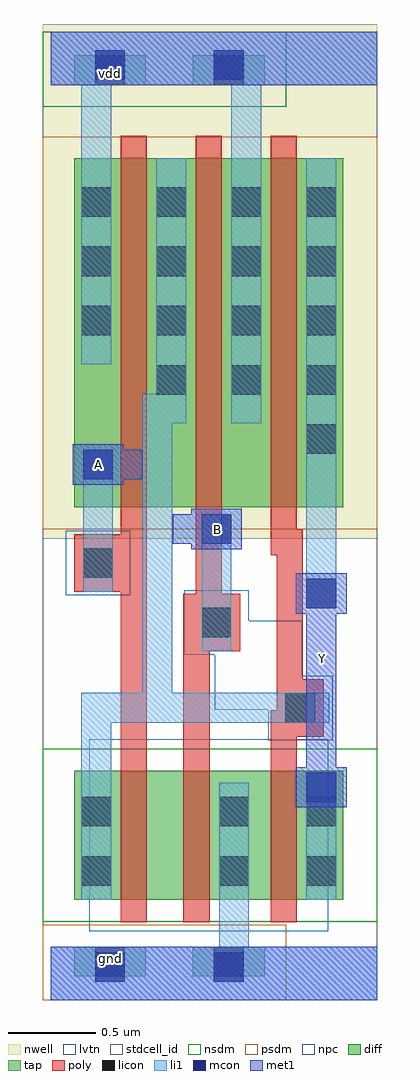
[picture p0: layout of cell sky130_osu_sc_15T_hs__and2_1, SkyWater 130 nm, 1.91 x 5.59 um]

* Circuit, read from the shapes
.subckt sky130_osu_sc_15T_hs__and2_1 A B Y gnd vdd
XM1 n1 A n2 gnd sky130_fd_pr__nfet_01v8_lvt w=0.74 l=0.15
XM2 gnd B n1 gnd sky130_fd_pr__nfet_01v8_lvt w=0.74 l=0.15
XM3 Y n2 gnd gnd sky130_fd_pr__nfet_01v8_lvt w=0.74 l=0.15
XM4 n2 A vdd vdd sky130_fd_pr__pfet_01v8 w=2 l=0.15
XM5 vdd B n2 vdd sky130_fd_pr__pfet_01v8 w=2 l=0.15
XM6 Y n2 vdd vdd sky130_fd_pr__pfet_01v8 w=2 l=0.15
.ends

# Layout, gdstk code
import gdstk
lib = gdstk.Library(unit=1e-6, precision=1e-09)
def R(c, l, rs):  # rectangles x0, y0, x1, y1
    for r in rs: c.add(gdstk.rectangle(r[:2], r[2:], *l))
def A(c, l, x, y, w, h, nx, ny, dx, dy):  # array of equal rectangles
    R(c, l, [(x+i*dx, y+j*dy, x+i*dx+w, y+j*dy+h) for i in range(nx) for j in range(ny)])
nwell = (64, 20)
diff = (65, 20)
tap = (65, 44)
poly = (66, 20)
licon = (66, 44)
li1 = (67, 20)
mcon = (67, 44)
met1 = (68, 20)
stdcell_id = (81, 4)
nsdm = (93, 44)
psdm = (94, 20)
npc = (95, 20)
lvtn = (125, 44)

sky130_osu_sc_15t_hs__an = lib.new_cell('sky130_osu_sc_15T_hs__and2_1')
R(sky130_osu_sc_15t_hs__an, nwell, [(-0.045,2.645,1.87,5.595)])
R(sky130_osu_sc_15t_hs__an, diff, [(0.135,0.575,1.675,1.315), (0.135,2.825,1.675,4.825)])
R(sky130_osu_sc_15t_hs__an, tap, [(0.135,0.135,0.545,0.305), (0.815,0.135,1.225,0.305), (0.135,5.245,0.545,5.415), (0.815,5.245,1.225,5.415)])
R(sky130_osu_sc_15t_hs__an, poly, [(0.4,0.445,0.55,2.34), (0.76,0.445,0.91,2), (1.26,0.445,1.41,1.51), (1.26,1.51,1.565,1.66), (1.295,1.66,1.565,1.84), (1.295,1.84,1.445,2.55), (0.76,2,1.085,2.33), (0.83,2.33,0.98,4.955), (0.135,2.34,0.55,2.67), (1.26,2.55,1.445,2.7), (0.4,2.67,0.55,4.955), (1.26,2.7,1.41,4.955)])
A(sky130_osu_sc_15t_hs__an, licon, 0.605, 3.47, 0.17, 0.17, 3, 1, 0.43, 0)
A(sky130_osu_sc_15t_hs__an, licon, 0.175, 3.81, 0.17, 0.17, 4, 3, 0.43, 0.34)
R(sky130_osu_sc_15t_hs__an, licon, [(0.255,0.135,0.425,0.305), (0.935,0.135,1.105,0.305), (0.175,0.655,0.345,0.825), (0.965,0.655,1.135,0.825), (1.465,0.655,1.635,0.825), (0.175,0.995,0.345,1.165), (0.965,0.995,1.135,1.165), (1.465,0.995,1.635,1.165), (1.345,1.59,1.515,1.76), (0.865,2.08,1.035,2.25), (0.185,2.42,0.355,2.59), (1.465,3.13,1.635,3.3), (0.255,5.245,0.425,5.415), (0.935,5.245,1.105,5.415)])
R(sky130_osu_sc_15t_hs__an, li1, [(0,0,1.87,0.305), (0.965,0.305,1.135,1.245), (0.175,0.575,0.345,1.59), (1.465,0.575,1.635,1.305), (0.175,1.59,1.595,1.76), (0.525,1.76,0.695,3.305), (0.865,2,1.035,2.785), (1.465,2.245,1.635,4.825), (0.185,2.34,0.355,3.155), (0.525,3.305,0.775,3.475), (1.035,3.305,1.205,5.245), (0.605,3.475,0.775,4.825), (0.175,3.645,0.345,5.245), (0,5.245,1.87,5.55)])
R(sky130_osu_sc_15t_hs__an, mcon, [(0.255,0.105,0.425,0.275), (0.935,0.105,1.105,0.275), (1.465,1.135,1.635,1.305), (1.465,2.245,1.635,2.415), (0.865,2.615,1.035,2.785), (0.185,2.985,0.355,3.155), (0.255,5.275,0.425,5.445), (0.935,5.275,1.105,5.445)])
R(sky130_osu_sc_15t_hs__an, met1, [(0,0,1.87,0.305), (1.405,1.105,1.695,1.335), (1.465,1.335,1.635,2.215), (1.405,2.215,1.695,2.445), (0.805,2.585,1.095,2.615), (0.7,2.615,1.095,2.785), (0.805,2.785,1.095,2.815), (0.125,2.955,0.415,2.985), (0.125,2.985,0.525,3.155), (0.125,3.155,0.415,3.185), (0,5.245,1.87,5.55)])
R(sky130_osu_sc_15t_hs__an, stdcell_id, [(-0.045,0,1.87,5.55)])
R(sky130_osu_sc_15t_hs__an, nsdm, [(-0.045,0.45,1.87,1.44), (-0.045,5.12,1.35,5.55)])
R(sky130_osu_sc_15t_hs__an, psdm, [(-0.045,0,1.35,0.43), (-0.045,2.7,1.87,4.95)])
R(sky130_osu_sc_15t_hs__an, npc, [(1.245,1.49,1.615,1.665), (0.94,1.665,1.615,1.86), (0.94,1.86,1.44,1.98), (0.765,1.98,1.44,2.175), (0.765,2.175,1.135,2.35), (0.085,2.32,0.455,2.69)])
R(sky130_osu_sc_15t_hs__an, lvtn, [(0.22,0.395,1.59,1.495)])
sky130_osu_sc_15t_hs__an.add(gdstk.Label('gnd', (0.34,0.24), layer=68, texttype=16))
sky130_osu_sc_15t_hs__an.add(gdstk.Label('vdd', (0.34,5.31), layer=68, texttype=16))
sky130_osu_sc_15t_hs__an.add(gdstk.Label('Y', (1.555,1.96), layer=68, texttype=5))
sky130_osu_sc_15t_hs__an.add(gdstk.Label('A', (0.275,3.07), layer=68, texttype=5))
sky130_osu_sc_15t_hs__an.add(gdstk.Label('B', (0.955,2.7), layer=68, texttype=5))

lib.write_gds('sky130_osu_sc_15T_hs__and2_1.gds')
